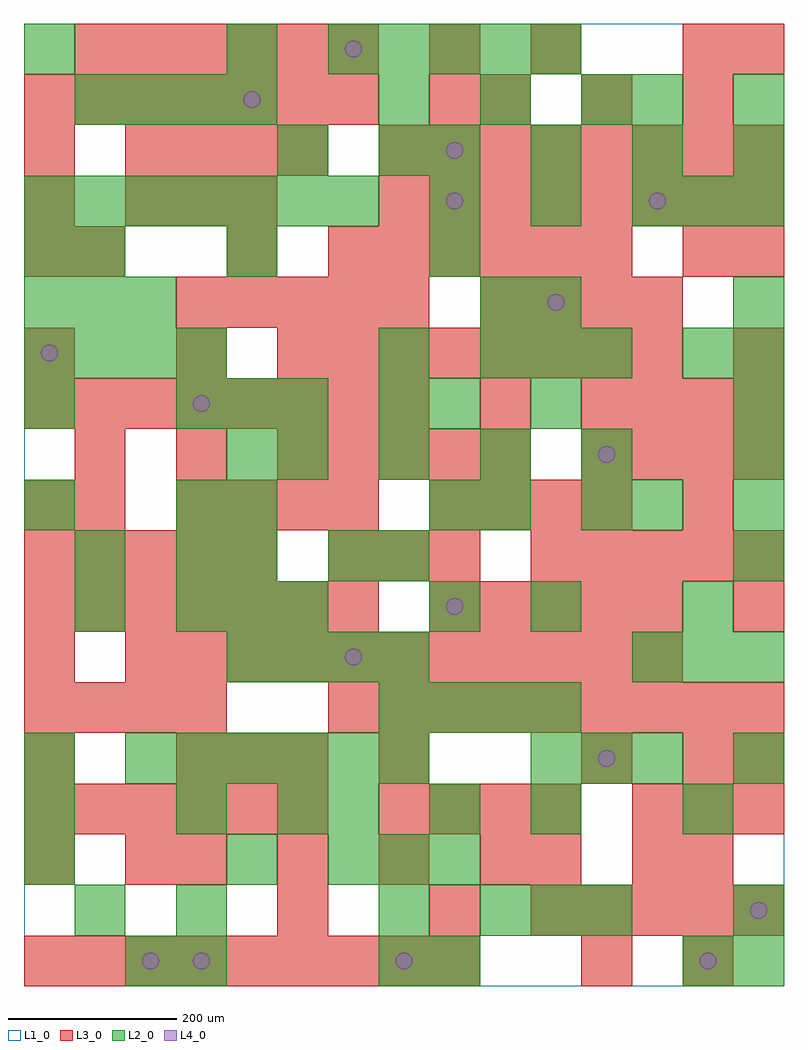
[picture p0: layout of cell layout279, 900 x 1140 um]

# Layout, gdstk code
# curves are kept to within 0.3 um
import gdstk
lib = gdstk.Library(unit=1e-6, precision=1e-09)
def R(c, l, rs):  # rectangles x0, y0, x1, y1
    for r in rs: c.add(gdstk.rectangle(r[:2], r[2:], *l))
def A(c, l, x, y, w, h, nx, ny, dx, dy):  # array of equal rectangles
    R(c, l, [(x+i*dx, y+j*dy, x+i*dx+w, y+j*dy+h) for i in range(nx) for j in range(ny)])
def P(c, l, *ps):  # polygons
    for p in ps: c.add(gdstk.Polygon(p, *l))
L1_0 = (1, 0)
L2_0 = (2, 0)
L3_0 = (3, 0)
L4_0 = (4, 0)

layout279 = lib.new_cell('layout279')
R(layout279, L1_0, [(0,0,900,1140)])
A(layout279, L2_0, 540, 60, 60, 60, 3, 2, 60, 660)
A(layout279, L2_0, 0, 120, 60, 60, 1, 3, 0, 60)
A(layout279, L2_0, 360, 120, 60, 60, 3, 1, 60, 0)
A(layout279, L2_0, 360, 180, 60, 60, 3, 1, 120, 0)
A(layout279, L2_0, 120, 240, 60, 60, 6, 1, 60, 0)
A(layout279, L2_0, 600, 240, 60, 60, 3, 1, 60, 0)
A(layout279, L2_0, 420, 300, 60, 60, 4, 1, 60, 0)
A(layout279, L2_0, 240, 360, 60, 60, 4, 1, 60, 0)
A(layout279, L2_0, 720, 360, 60, 60, 3, 1, 60, 0)
A(layout279, L2_0, 180, 420, 60, 60, 3, 2, 60, 240)
A(layout279, L2_0, 480, 420, 60, 60, 1, 3, 0, 120)
A(layout279, L2_0, 240, 480, 60, 60, 1, 3, 0, 60)
A(layout279, L2_0, 840, 480, 60, 60, 1, 6, 0, 60)
A(layout279, L2_0, 300, 600, 60, 60, 4, 1, 120, 0)
A(layout279, L2_0, 0, 720, 60, 60, 4, 1, 60, 0)
A(layout279, L2_0, 0, 780, 60, 60, 3, 1, 60, 0)
A(layout279, L2_0, 0, 900, 60, 60, 7, 1, 60, 0)
A(layout279, L2_0, 480, 900, 60, 60, 3, 1, 120, 0)
A(layout279, L2_0, 480, 960, 60, 60, 4, 1, 120, 0)
A(layout279, L2_0, 60, 1020, 60, 60, 4, 1, 60, 0)
A(layout279, L2_0, 420, 1020, 60, 60, 3, 1, 120, 0)
A(layout279, L2_0, 360, 1080, 60, 60, 5, 1, 60, 0)
R(layout279, L2_0, [(120,0,180,60), (180,0,240,60), (420,0,480,60), (480,0,540,60), (780,0,840,60), (840,0,900,60), (60,60,120,120), (180,60,240,120), (420,60,480,120), (840,60,900,120), (240,120,300,180), (180,180,240,240), (300,180,360,240), (780,180,840,240), (840,240,900,300), (60,420,120,480), (600,420,660,480), (780,420,840,480), (60,480,120,540), (180,480,240,540), (360,480,420,540), (420,480,480,540), (0,540,60,600), (180,540,240,600), (540,540,600,600), (660,540,720,600), (720,540,780,600), (0,660,60,720), (420,660,480,720), (600,660,660,720), (420,720,480,780), (780,720,840,780), (540,780,600,840), (600,780,660,840), (0,840,60,900), (60,840,120,900), (240,840,300,900), (480,840,540,900), (780,900,840,960), (840,900,900,960), (300,960,360,1020), (420,960,480,1020), (720,1020,780,1080), (840,1020,900,1080), (0,1080,60,1140), (240,1080,300,1140)])
A(layout279, L3_0, 0, 0, 60, 60, 9, 1, 60, 0)
A(layout279, L3_0, 780, 0, 60, 60, 1, 3, 0, 120)
A(layout279, L3_0, 600, 60, 60, 60, 5, 2, 60, 420)
A(layout279, L3_0, 0, 120, 60, 60, 1, 3, 0, 120)
A(layout279, L3_0, 180, 120, 60, 60, 4, 1, 120, 0)
A(layout279, L3_0, 0, 180, 60, 60, 6, 1, 60, 0)
A(layout279, L3_0, 420, 180, 60, 60, 4, 1, 60, 0)
A(layout279, L3_0, 720, 180, 60, 60, 3, 1, 60, 0)
A(layout279, L3_0, 180, 240, 60, 60, 3, 1, 60, 0)
A(layout279, L3_0, 0, 300, 60, 60, 4, 1, 60, 0)
A(layout279, L3_0, 360, 300, 60, 60, 9, 1, 60, 0)
A(layout279, L3_0, 120, 360, 60, 60, 11, 1, 60, 0)
A(layout279, L3_0, 0, 420, 60, 60, 7, 2, 60, 600)
A(layout279, L3_0, 480, 420, 60, 60, 5, 1, 60, 0)
A(layout279, L3_0, 0, 480, 60, 60, 5, 1, 60, 0)
A(layout279, L3_0, 360, 480, 60, 60, 3, 1, 60, 0)
A(layout279, L3_0, 180, 540, 60, 60, 4, 1, 60, 0)
A(layout279, L3_0, 480, 540, 60, 60, 4, 1, 60, 0)
A(layout279, L3_0, 60, 600, 60, 60, 3, 1, 120, 0)
A(layout279, L3_0, 360, 600, 60, 60, 4, 1, 60, 0)
A(layout279, L3_0, 660, 600, 60, 60, 4, 2, 60, 60)
A(layout279, L3_0, 0, 660, 60, 60, 8, 1, 60, 0)
A(layout279, L3_0, 300, 720, 60, 60, 8, 1, 60, 0)
A(layout279, L3_0, 180, 780, 60, 60, 5, 1, 60, 0)
A(layout279, L3_0, 540, 780, 60, 60, 4, 1, 60, 0)
A(layout279, L3_0, 0, 840, 60, 60, 1, 3, 0, 60)
A(layout279, L3_0, 360, 840, 60, 60, 6, 1, 60, 0)
A(layout279, L3_0, 120, 900, 60, 60, 3, 1, 60, 0)
A(layout279, L3_0, 420, 900, 60, 60, 8, 2, 60, 60)
A(layout279, L3_0, 120, 960, 60, 60, 4, 1, 60, 0)
A(layout279, L3_0, 540, 1020, 60, 60, 3, 1, 120, 0)
A(layout279, L3_0, 60, 1080, 60, 60, 6, 1, 60, 0)
R(layout279, L3_0, [(660,0,720,60), (300,60,360,120), (480,60,540,120), (120,120,180,180), (600,120,660,180), (720,120,780,180), (420,240,480,300), (660,240,720,300), (840,240,900,300), (840,420,900,480), (0,540,60,600), (60,540,120,600), (780,540,840,600), (540,660,600,720), (0,720,60,780), (180,720,240,780), (840,720,900,780), (60,840,120,900), (240,840,300,900), (780,840,840,900), (840,840,900,900), (480,1020,540,1080), (480,1080,540,1140), (600,1080,660,1140), (780,1080,840,1140), (840,1080,900,1140)])
P(layout279, L4_0, [(40,750),(39.239,753.827),(37.071,757.071),(33.827,759.239),(30,760),(26.173,759.239),(22.929,757.071),(20.761,753.827),(20,750),(20.761,746.173),(22.929,742.929),(26.173,740.761),(30,740),(33.827,740.761),(37.071,742.929),(39.239,746.173)],
  [(160,30),(159.239,33.827),(157.071,37.071),(153.827,39.239),(150,40),(146.173,39.239),(142.929,37.071),(140.761,33.827),(140,30),(140.761,26.173),(142.929,22.929),(146.173,20.761),(150,20),(153.827,20.761),(157.071,22.929),(159.239,26.173)],
  [(220,30),(219.239,33.827),(217.071,37.071),(213.827,39.239),(210,40),(206.173,39.239),(202.929,37.071),(200.761,33.827),(200,30),(200.761,26.173),(202.929,22.929),(206.173,20.761),(210,20),(213.827,20.761),(217.071,22.929),(219.239,26.173)],
  [(220,690),(219.239,693.827),(217.071,697.071),(213.827,699.239),(210,700),(206.173,699.239),(202.929,697.071),(200.761,693.827),(200,690),(200.761,686.173),(202.929,682.929),(206.173,680.761),(210,680),(213.827,680.761),(217.071,682.929),(219.239,686.173)],
  [(280,1050),(279.239,1053.827),(277.071,1057.071),(273.827,1059.239),(270,1060),(266.173,1059.239),(262.929,1057.071),(260.761,1053.827),(260,1050),(260.761,1046.173),(262.929,1042.929),(266.173,1040.761),(270,1040),(273.827,1040.761),(277.071,1042.929),(279.239,1046.173)],
  [(400,390),(399.239,393.827),(397.071,397.071),(393.827,399.239),(390,400),(386.173,399.239),(382.929,397.071),(380.761,393.827),(380,390),(380.761,386.173),(382.929,382.929),(386.173,380.761),(390,380),(393.827,380.761),(397.071,382.929),(399.239,386.173)],
  [(400,1110),(399.239,1113.827),(397.071,1117.071),(393.827,1119.239),(390,1120),(386.173,1119.239),(382.929,1117.071),(380.761,1113.827),(380,1110),(380.761,1106.173),(382.929,1102.929),(386.173,1100.761),(390,1100),(393.827,1100.761),(397.071,1102.929),(399.239,1106.173)],
  [(460,30),(459.239,33.827),(457.071,37.071),(453.827,39.239),(450,40),(446.173,39.239),(442.929,37.071),(440.761,33.827),(440,30),(440.761,26.173),(442.929,22.929),(446.173,20.761),(450,20),(453.827,20.761),(457.071,22.929),(459.239,26.173)],
  [(520,450),(519.239,453.827),(517.071,457.071),(513.827,459.239),(510,460),(506.173,459.239),(502.929,457.071),(500.761,453.827),(500,450),(500.761,446.173),(502.929,442.929),(506.173,440.761),(510,440),(513.827,440.761),(517.071,442.929),(519.239,446.173)],
  [(520,930),(519.239,933.827),(517.071,937.071),(513.827,939.239),(510,940),(506.173,939.239),(502.929,937.071),(500.761,933.827),(500,930),(500.761,926.173),(502.929,922.929),(506.173,920.761),(510,920),(513.827,920.761),(517.071,922.929),(519.239,926.173)],
  [(520,990),(519.239,993.827),(517.071,997.071),(513.827,999.239),(510,1000),(506.173,999.239),(502.929,997.071),(500.761,993.827),(500,990),(500.761,986.173),(502.929,982.929),(506.173,980.761),(510,980),(513.827,980.761),(517.071,982.929),(519.239,986.173)],
  [(640,810),(639.239,813.827),(637.071,817.071),(633.827,819.239),(630,820),(626.173,819.239),(622.929,817.071),(620.761,813.827),(620,810),(620.761,806.173),(622.929,802.929),(626.173,800.761),(630,800),(633.827,800.761),(637.071,802.929),(639.239,806.173)],
  [(700,270),(699.239,273.827),(697.071,277.071),(693.827,279.239),(690,280),(686.173,279.239),(682.929,277.071),(680.761,273.827),(680,270),(680.761,266.173),(682.929,262.929),(686.173,260.761),(690,260),(693.827,260.761),(697.071,262.929),(699.239,266.173)],
  [(700,630),(699.239,633.827),(697.071,637.071),(693.827,639.239),(690,640),(686.173,639.239),(682.929,637.071),(680.761,633.827),(680,630),(680.761,626.173),(682.929,622.929),(686.173,620.761),(690,620),(693.827,620.761),(697.071,622.929),(699.239,626.173)],
  [(760,930),(759.239,933.827),(757.071,937.071),(753.827,939.239),(750,940),(746.173,939.239),(742.929,937.071),(740.761,933.827),(740,930),(740.761,926.173),(742.929,922.929),(746.173,920.761),(750,920),(753.827,920.761),(757.071,922.929),(759.239,926.173)],
  [(820,30),(819.239,33.827),(817.071,37.071),(813.827,39.239),(810,40),(806.173,39.239),(802.929,37.071),(800.761,33.827),(800,30),(800.761,26.173),(802.929,22.929),(806.173,20.761),(810,20),(813.827,20.761),(817.071,22.929),(819.239,26.173)],
  [(880,90),(879.239,93.827),(877.071,97.071),(873.827,99.239),(870,100),(866.173,99.239),(862.929,97.071),(860.761,93.827),(860,90),(860.761,86.173),(862.929,82.929),(866.173,80.761),(870,80),(873.827,80.761),(877.071,82.929),(879.239,86.173)])

lib.write_gds('layout279.gds')
